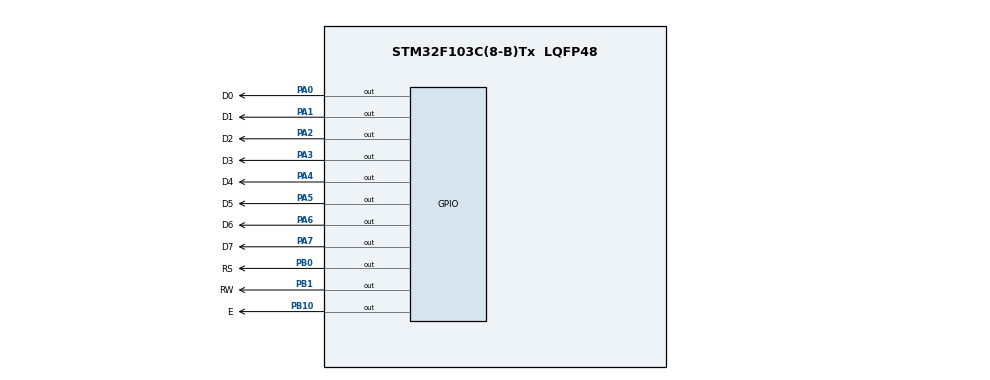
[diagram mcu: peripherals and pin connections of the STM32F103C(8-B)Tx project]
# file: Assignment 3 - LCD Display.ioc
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Mcu.Family=STM32F1
Mcu.Name=STM32F103C(8-B)Tx
Mcu.Package=LQFP48
NVIC.PriorityGroup=NVIC_PRIORITYGROUP_4
PA0-WKUP.GPIO_Label=D0
PA0-WKUP.Signal=GPIO_Output
PA1.GPIO_Label=D1
PA1.Signal=GPIO_Output
PA13.Mode=Serial_Wire
PA13.Signal=SYS_JTMS-SWDIO
PA14.Mode=Serial_Wire
PA14.Signal=SYS_JTCK-SWCLK
PA2.GPIO_Label=D2
PA2.Signal=GPIO_Output
PA3.GPIO_Label=D3
PA3.Signal=GPIO_Output
PA4.GPIO_Label=D4
PA4.Signal=GPIO_Output
PA5.GPIO_Label=D5
PA5.Signal=GPIO_Output
PA6.GPIO_Label=D6
PA6.Signal=GPIO_Output
PA7.GPIO_Label=D7
PA7.Signal=GPIO_Output
PB0.GPIO_Label=RS
PB0.Signal=GPIO_Output
PB1.GPIO_Label=RW
PB1.Signal=GPIO_Output
PB10.GPIO_Label=E
PB10.Signal=GPIO_Output
ProjectManager.HeapSize=0x200
ProjectManager.StackSize=0x400
ProjectManager.TargetToolchain=STM32CubeIDE
RCC.APB1Freq_Value=8000000
RCC.APB2Freq_Value=8000000
board=custom

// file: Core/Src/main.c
/* USER CODE BEGIN Header */
/**
  ******************************************************************************
  * @file           : main.c
  * @brief          : Main program body
  ******************************************************************************
  * @attention
  *
  * Copyright (c) 2022 STMicroelectronics.
  * All rights reserved.
  *
  * This software is licensed under terms that can be found in the LICENSE file
  * in the root directory of this software component.
  * If no LICENSE file comes with this software, it is provided AS-IS.
  *
  ******************************************************************************
  */
/* USER CODE END Header */
#include "main.h"

/* USER CODE BEGIN PV */
char PacMan_frame1[] = {0x00,0x00,0x0E,0x1B,0x1C,0x18,0x1F,0x0E};
char PacMan_frame2[] = {0x00,0x00,0x0E,0x1B,0x1F,0x1C,0x1F,0x0E};
char PacMan_frame3[] = {0x00,0x00,0x0E,0x1B,0x1F,0x1F,0x1F,0x0E};
char LCDdir;
/* USER CODE END PV */

void SystemClock_Config(void);
static void MX_GPIO_Init(void);

int main(void)
{

  /* MCU Configuration--------------------------------------------------------*/

  /* Reset of all peripherals, Initializes the Flash interface and the Systick. */
  HAL_Init();

  /* Configure the system clock */
  SystemClock_Config();

  /* Initialize all configured peripherals */
  MX_GPIO_Init();
  /* USER CODE BEGIN 2 */
  LCD_init();

  create_custom_char(0,PacMan_frame1);
  create_custom_char(1,PacMan_frame2);
  create_custom_char(2,PacMan_frame3);
  set_cursor_pos(0,0);

  /* USER CODE END 2 */

  /* Infinite loop */
  /* USER CODE BEGIN WHILE */
  while (1)
  {
	  set_cursor_pos(0,5);
	  write_string_LCD("HELLO");
	  set_cursor_pos(1,3);
	  write_string_LCD("Mr.PacMan");
	  HAL_Delay(500);
	  for(int i=0;i<2;i++){
		  set_cursor_pos(i,0);
		  for(int j=0;j<=15;j++){
			  disp_custom_char(0);
			  HAL_Delay(157);
			  set_cursor_pos(i,j);
			  send_to_LCD(' ');
			  disp_custom_char(2);
			  HAL_Delay(157);
			  set_cursor_pos(i,j+1);
		  }
	  }
    /* USER CODE END WHILE */
  }
}

void SystemClock_Config(void)
{
  RCC_OscInitTypeDef RCC_OscInitStruct = {0};
  RCC_ClkInitTypeDef RCC_ClkInitStruct = {0};

  /** Initializes the RCC Oscillators according to the specified parameters
  * in the RCC_OscInitTypeDef structure.
  */
  RCC_OscInitStruct.OscillatorType = RCC_OSCILLATORTYPE_HSI;
  RCC_OscInitStruct.HSIState = RCC_HSI_ON;
  RCC_OscInitStruct.HSICalibrationValue = RCC_HSICALIBRATION_DEFAULT;
  RCC_OscInitStruct.PLL.PLLState = RCC_PLL_NONE;
  if (HAL_RCC_OscConfig(&RCC_OscInitStruct) != HAL_OK)
  {
    Error_Handler();
  }

  /** Initializes the CPU, AHB and APB buses clocks
  */
  RCC_ClkInitStruct.ClockType = RCC_CLOCKTYPE_HCLK|RCC_CLOCKTYPE_SYSCLK
                              |RCC_CLOCKTYPE_PCLK1|RCC_CLOCKTYPE_PCLK2;
  RCC_ClkInitStruct.SYSCLKSource = RCC_SYSCLKSOURCE_HSI;
  RCC_ClkInitStruct.AHBCLKDivider = RCC_SYSCLK_DIV1;
  RCC_ClkInitStruct.APB1CLKDivider = RCC_HCLK_DIV1;
  RCC_ClkInitStruct.APB2CLKDivider = RCC_HCLK_DIV1;

  if (HAL_RCC_ClockConfig(&RCC_ClkInitStruct, FLASH_LATENCY_0) != HAL_OK)
  {
    Error_Handler();
  }
}

static void MX_GPIO_Init(void)
{
  GPIO_InitTypeDef GPIO_InitStruct = {0};

  /* GPIO Ports Clock Enable */
  __HAL_RCC_GPIOA_CLK_ENABLE();
  __HAL_RCC_GPIOB_CLK_ENABLE();

  /*Configure GPIO pin Output Level */
  HAL_GPIO_WritePin(GPIOA, GPIO_PIN_0|GPIO_PIN_1|GPIO_PIN_2|GPIO_PIN_3
                          |GPIO_PIN_4|GPIO_PIN_5|GPIO_PIN_6|GPIO_PIN_7, GPIO_PIN_RESET);

  /*Configure GPIO pin Output Level */
  HAL_GPIO_WritePin(GPIOB, GPIO_PIN_0|GPIO_PIN_1|GPIO_PIN_10, GPIO_PIN_RESET);

  /*Configure GPIO pins : PA0 PA1 PA2 PA3
                           PA4 PA5 PA6 PA7 */
  GPIO_InitStruct.Pin = GPIO_PIN_0|GPIO_PIN_1|GPIO_PIN_2|GPIO_PIN_3
                          |GPIO_PIN_4|GPIO_PIN_5|GPIO_PIN_6|GPIO_PIN_7;
  GPIO_InitStruct.Mode = GPIO_MODE_OUTPUT_PP;
  GPIO_InitStruct.Pull = GPIO_NOPULL;
  GPIO_InitStruct.Speed = GPIO_SPEED_FREQ_LOW;
  HAL_GPIO_Init(GPIOA, &GPIO_InitStruct);

  /*Configure GPIO pins : PB0 PB1 PB10 */
  GPIO_InitStruct.Pin = GPIO_PIN_0|GPIO_PIN_1|GPIO_PIN_10;
  GPIO_InitStruct.Mode = GPIO_MODE_OUTPUT_PP;
  GPIO_InitStruct.Pull = GPIO_NOPULL;
  GPIO_InitStruct.Speed = GPIO_SPEED_FREQ_LOW;
  HAL_GPIO_Init(GPIOB, &GPIO_InitStruct);

}

/* USER CODE BEGIN 4 */
void LCD_init(){
	HAL_GPIO_WritePin(controlPort,RS_Pin,GPIO_PIN_RESET);
	HAL_GPIO_WritePin(controlPort,RW_Pin,GPIO_PIN_RESET);
	HAL_GPIO_WritePin(controlPort,E_Pin,GPIO_PIN_RESET);
    LCD_cmd(setLCD_8bits_2Lines_smallFont);
    HAL_Delay(250);
    LCD_cmd(DISPLAY_ON_C_OFF_B_OFF);
    HAL_Delay(250);
    LCD_cmd(Clear_DISP);
    HAL_Delay(250);
    set_LCD_dir('R');
    HAL_Delay(250);
}
void LCD_cmd(char cx) {
	HAL_GPIO_WritePin(controlPort,RS_Pin,GPIO_PIN_RESET); // select IR register
	HAL_GPIO_WritePin(controlPort,RW_Pin,GPIO_PIN_RESET); // set Write mode
    HAL_GPIO_WritePin(controlPort,E_Pin,GPIO_PIN_SET);    // set to clock data
    __NOP();
    dataPort -> ODR = cx;   // send out command
    __NOP();
    HAL_GPIO_WritePin(controlPort,E_Pin,GPIO_PIN_RESET);  // complete external write cycle
}
void LCD_read(char ADD){
	HAL_GPIO_WritePin(controlPort,RS_Pin,GPIO_PIN_SET);
	HAL_GPIO_WritePin(controlPort,RW_Pin,GPIO_PIN_SET);
	HAL_GPIO_WritePin(controlPort,E_Pin,GPIO_PIN_SET);
	__NOP();
	dataPort -> IDR = ADD;
	__NOP();
	HAL_GPIO_WritePin(controlPort,E_Pin,GPIO_PIN_RESET);
}
void set_LCD_dir(char d){
    if(d == 'L'){
        LCD_cmd(EMS_DEC_S);
        LCDdir = 'L';
    } else if (d == 'R'){
        LCD_cmd(EMS_INC_S);
        LCDdir = 'R';
    }
}
void send_to_LCD(char xy){
	HAL_GPIO_WritePin(controlPort,RS_Pin,GPIO_PIN_SET);
	HAL_GPIO_WritePin(controlPort,RW_Pin,GPIO_PIN_RESET);
	HAL_GPIO_WritePin(controlPort,E_Pin,GPIO_PIN_SET);
	dataPort -> ODR = xy;
    __NOP();
    __NOP();
    HAL_GPIO_WritePin(controlPort,E_Pin,GPIO_PIN_RESET);
    HAL_Delay(10);
}
void set_cursor_pos(char row,char col){
    unsigned char Pos = 0;
    switch (row){
        case 0: {
            Pos = 0x80|col;
            LCD_cmd(Pos);
        } break;
        case 1: {
            Pos = 0xC0|col;
            LCD_cmd(Pos);
        } break;
        default: __NOP(); break;
    }
    HAL_Delay(10);
}
void move_cursor_n_times(int n, char dir){
    if (dir == 'R'){
        for (int i = 0; i <n ;i++){
        LCD_cmd(CURSOR_MOVE_RIGHT);
        }
    } else if (dir == 'L'){
        for (int i = 0; i <n ;i++){
        LCD_cmd(CURSOR_MOVE_LEFT);
        }
    }
}
void write_string_LCD(const char *s){
    while(*s)
        send_to_LCD(*s++);
    HAL_Delay(10);
}
void write_int_LCD(int x){
    unsigned char UnitDigit  = 0;
    unsigned char TenthDigit = 0;
    unsigned char HundrethDigit = 0;
    HundrethDigit = x/100;
    TenthDigit = (x - HundrethDigit*100)/10;
    UnitDigit = x - TenthDigit*10 - HundrethDigit*100;
    if(LCDdir == 'R'){
        send_to_LCD(HundrethDigit+'0');
        send_to_LCD(TenthDigit+'0');
        send_to_LCD(UnitDigit+'0');
    } else if(LCDdir == 'L'){
        send_to_LCD(UnitDigit+'0');
        send_to_LCD(TenthDigit+'0');
        send_to_LCD(HundrethDigit+'0');
    }
}
void create_custom_char(uint8_t loc,char* data){
	switch (loc){
		case 0:LCD_cmd(NEW_CHARACTER);break;
		case 1:LCD_cmd(NEW_CHARACTER+8);break;
		case 2:LCD_cmd(NEW_CHARACTER+16);break;
		case 3:LCD_cmd(NEW_CHARACTER+24);break;
		case 4:LCD_cmd(NEW_CHARACTER+32);break;
		case 5:LCD_cmd(NEW_CHARACTER+40);break;
		case 6:LCD_cmd(NEW_CHARACTER+48);break;
		case 7:LCD_cmd(NEW_CHARACTER+56);break;
		default : break;
	}
	for (int i=0;i<8;i++){
		send_to_LCD(data[i]);
	}

}
void disp_custom_char(uint8_t loc){
	switch (loc){
		case 0:send_to_LCD(0);break;
		case 1:send_to_LCD(1);break;
		case 2:send_to_LCD(2);break;
		case 3:send_to_LCD(3);break;
		case 4:send_to_LCD(4);break;
		case 5:send_to_LCD(5);break;
		case 6:send_to_LCD(6);break;
		case 7:send_to_LCD(7);break;
		default : break;
	}
}
/* USER CODE END 4 */

void Error_Handler(void)
{
  __disable_irq();
  while (1)
  {
  }
}
